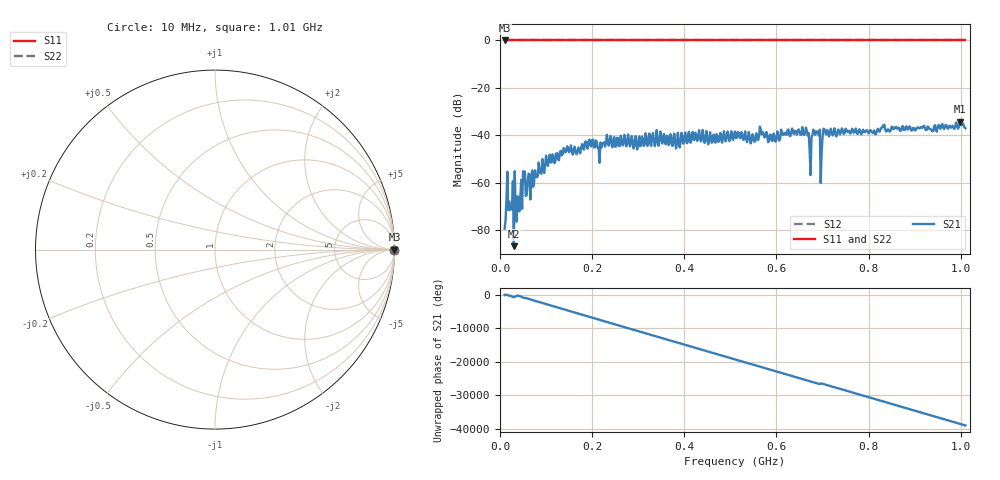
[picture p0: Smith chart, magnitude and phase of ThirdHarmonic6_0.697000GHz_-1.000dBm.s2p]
! 8/15/2025 11:17:33 PM
! C:\ANRITSUVNA\TEMP\TEMP.S2P
! CHANNEL.1
! TR.MEASUREMENT
! RAW.DATA
! RF.CORRECTION.OFF
! AVERAGING.OFF
! IF.BANDWIDTH: 5KHZ
! SWEEPTYPE:  FREQ.SWEEP(Linear)
! Reference Plane Port Info
! PORT:  PORT1  PORT2
! DISTANCE:  0  m  0  m
! TIME:  0  s  0  s
! PHASE.OFFSET:  0  deg.  0  deg.
! LOSS:  0  dB  0  dB
! REF.LOSS:  0  dB  0  dB
! REF.FREQ:  0  Hz  0  Hz
! Power Info
! POWER:  -20  dBm  -20  dBm
! EFF.POWER:  -20  dBm  -20  dBm
! SOURCE.ATTEN:  0  dB  0  dB
! TEST.ATTEN:  0  dB  0  dB
# GHZ S RI R 50.0
! FREQ.GHZ  S11RE  S11IM  S21RE  S21IM  S12RE  S12IM  S22RE  S22IM
!; PortSelection: Port_12
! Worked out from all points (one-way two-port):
!   501 points, 10 MHz to 1.01 GHz, reference 50 ohm
!   highest |S21| = -34.30 dB at 998 MHz (marker M1); lowest = -86.8 dB at 30 MHz (marker M2)
!   lowest |S11| = 0.0 dB at 10 MHz (marker M3)
!   |S11| at or under -10 dB: nowhere
!   |S22| runs from 0.0 to 0.0 dB; largest |S21 - S12| = 1
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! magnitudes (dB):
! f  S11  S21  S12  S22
! 10 MHz  0.0  -79.5  0.0  0.0
! 18 MHz  0.0  -71.5  0.0  0.0
! 22 MHz  0.0  -71.5  0.0  0.0
! 30 MHz  0.0  -86.8  0.0  0.0
! 38 MHz  0.0  -65.8  0.0  0.0
! 50 MHz  0.0  -55.2  0.0  0.0
! 70 MHz  0.0  -54.9  0.0  0.0
! 104 MHz  0.0  -53.0  0.0  0.0
! 178 MHz  0.0  -43.7  0.0  0.0
! 344 MHz  0.0  -44.4  0.0  0.0
! 510 MHz  0.0  -38.4  0.0  0.0
! 660 MHz  0.0  -39.9  0.0  0.0
! 666 MHz  0.0  -38.3  0.0  0.0
! 672 MHz  0.0  -46.5  0.0  0.0
! 678 MHz  0.0  -40.0  0.0  0.0
! 684 MHz  0.0  -39.8  0.0  0.0
! 690 MHz  0.0  -38.5  0.0  0.0
! 696 MHz  0.0  -60.2  0.0  0.0
! 706 MHz  0.0  -38.8  0.0  0.0
! 844 MHz  0.0  -38.0  0.0  0.0
! 998 MHz  0.0  -34.3  0.0  0.0
! 1.01 GHz  0.0  -37.0  0.0  0.0
